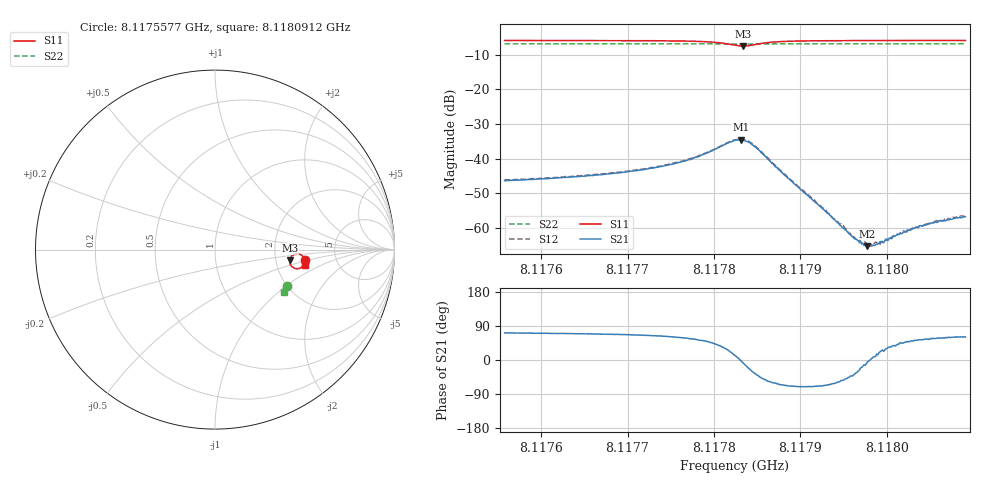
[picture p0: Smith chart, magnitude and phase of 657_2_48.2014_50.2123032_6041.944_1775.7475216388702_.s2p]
#  HZ  S  RI  R  50.00
! Rohde & Schwarz Vector Network Analyzer
! Rohde-Schwarz,ZNB20-2Port,1311601062101988,3.16
! Created: UTC 3/20/2024, 12:05:34 PM
! freq[Hz]  re:S11  im:S11  re:S21  im:S21  re:S12  im:S12  re:S22  im:S22
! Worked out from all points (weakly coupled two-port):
!   401 points, 8.1175577 GHz to 8.1180912 GHz, reference 50 ohm
!   highest |S21| = -34.55 dB at 8.1178311 GHz (marker M1); lowest = -65.2 dB at 8.1179778 GHz (marker M2)
!   lowest |S11| = -7.5 dB at 8.1178338 GHz (marker M3), VSWR 2.45, Z = 120 - j17.4 ohm
!   |S11| at or under -10 dB: nowhere
!   |S22| runs from -6.9 to -6.9 dB; largest |S21 - S12| = 0.00067
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8.11755768e9  0.5032 -0.0597  0.00152 0.00455  0.00164 0.00468  0.4038 -0.2051
8.11764704e9  0.501 -0.0698  0.00199 0.00521  0.00207 0.00531  0.4009 -0.2108
8.11769239e9  0.4989 -0.0764  0.00244 0.00578  0.00256 0.00589  0.3994 -0.2139
8.1177364e9  0.4948 -0.0852  0.0034 0.00677  0.00347 0.00695  0.3978 -0.2168
8.11777775e9  0.4837 -0.0978  0.00584 0.00853  0.00606 0.00855  0.396 -0.2196
8.11782443e9  0.4236 -0.0886  0.0181 0.00381  0.0183 0.00411  0.3921 -0.2214
8.1178311e9  0.4163 -0.0687  0.0187 -0.000534  0.0192 -0.000495  0.3919 -0.2208
8.11783376e9  0.4164 -0.06  0.0183 -0.00238  0.0189 -0.00235  0.3918 -0.2206
8.11784177e9  0.4275 -0.0363  0.0153 -0.00706  0.0157 -0.00723  0.3925 -0.2201
8.11784977e9  0.4468 -0.0248  0.0108 -0.00895  0.0111 -0.00904  0.3931 -0.2204
8.11787378e9  0.4843 -0.0325  0.0032 -0.00648  0.00336 -0.00661  0.3938 -0.2226
8.11791379e9  0.4981 -0.0525  0.00087 -0.00243  0.00084 -0.00251  0.393 -0.226
8.1179618e9  0.5004 -0.0653  0.000558 -0.000456  0.00059 -0.000459  0.3914 -0.2294
8.11797114e9  0.5007 -0.067  0.00055 -0.000194  0.000545 -0.000249  0.3911 -0.2299
8.11797781e9  0.5007 -0.0682  0.000549 -4.67e-05  0.000567 -6.47e-05  0.3911 -0.2305
8.11798314e9  0.5007 -0.0691  0.000553 4.41e-05  0.000547 2.19e-05  0.3907 -0.2308
8.11798848e9  0.5007 -0.07  0.000562 0.000159  0.000599 0.000159  0.3905 -0.2311
8.11800315e9  0.5007 -0.0722  0.000586 0.000398  0.000635 0.000388  0.3901 -0.2321
8.11801782e9  0.5006 -0.0743  0.000594 0.000576  0.000592 0.000617  0.3896 -0.233
8.11804049e9  0.5003 -0.0773  0.000629 0.000856  0.000598 0.000872  0.3889 -0.2344
8.11805783e9  0.5003 -0.0793  0.000643 0.00101  0.000682 0.00107  0.3883 -0.2356
8.11809117e9  0.4997 -0.083  0.000705 0.00127  0.000726 0.00129  0.387 -0.2377
